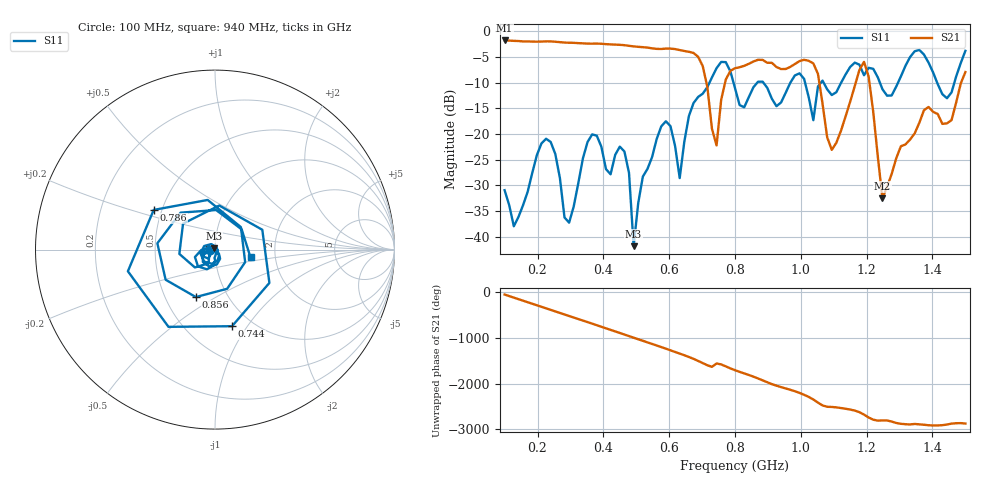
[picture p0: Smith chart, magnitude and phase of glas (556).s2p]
! NanoVNA-App
! Date: 2025-09-25 15:59:48
! Start: 100MHz Stop: 1,5GHz Points: 101
! S-Parameter data: F S11 S21 S12 S22
# Hz S RI R 50
!  Frequency  S11_Real  S11_Imag  S21_Real  S21_Imag  S12_Real  S12_Imag  S22_Real  S22_Imag
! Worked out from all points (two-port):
!   101 points, 100 MHz to 1.5 GHz, reference 50 ohm
!   highest |S21| = -1.80 dB at 100 MHz (marker M1); lowest = -32.5 dB at 1.248 GHz (marker M2)
!   |S21| within 3 dB of the highest: start of sweep to 684.5 MHz
!   lowest |S11| = -41.8 dB at 492 MHz (marker M3), VSWR 1.02, Z = 49.5 + j0.631 ohm
!   |S11| at or under -10 dB: start of sweep to 722.5 MHz; 795.4 MHz to 867.8 MHz (72.42 MHz wide, 8.71 % of centre); 886.2 MHz to 968.3 MHz (82.09 MHz wide, 8.85 % of centre) (the widest 3 of 7)
!   S12 and S22 are empty: the file has one direction only
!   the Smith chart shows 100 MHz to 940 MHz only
!   S11 on the Smith chart (normalised r, x): 100 MHz: 0.95, -0.01; 744 MHz: 0.81, -0.85; 786 MHz: 0.45, +0.24; 856 MHz: 0.71, -0.41; 940 MHz: 1.49, -0.14
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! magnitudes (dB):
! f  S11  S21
! 100 MHz  -30.9  -1.8
! 128 MHz  -38.0  -1.9
! 226 MHz  -20.9  -2.0
! 296 MHz  -37.2  -2.2
! 338 MHz  -24.7  -2.4
! 464 MHz  -23.4  -2.7
! 492 MHz  -41.8  -3.0
! 576 MHz  -18.5  -3.5
! 632 MHz  -28.6  -3.7
! 702 MHz  -12.2  -6.8
! 744 MHz  -7.2  -22.2
! 786 MHz  -7.8  -7.7
! 800 MHz  -11.1  -7.2
! 856 MHz  -10.9  -5.9
! 940 MHz  -13.9  -7.4
! 996 MHz  -8.2  -5.8
! 1.038 GHz  -17.3  -6.3
! 1.094 GHz  -12.4  -23.1
! 1.192 GHz  -8.6  -6.0
! 1.248 GHz  -11.3  -32.5
! 1.276 GHz  -12.5  -27.8
! 1.5 GHz  -3.8  -7.9
